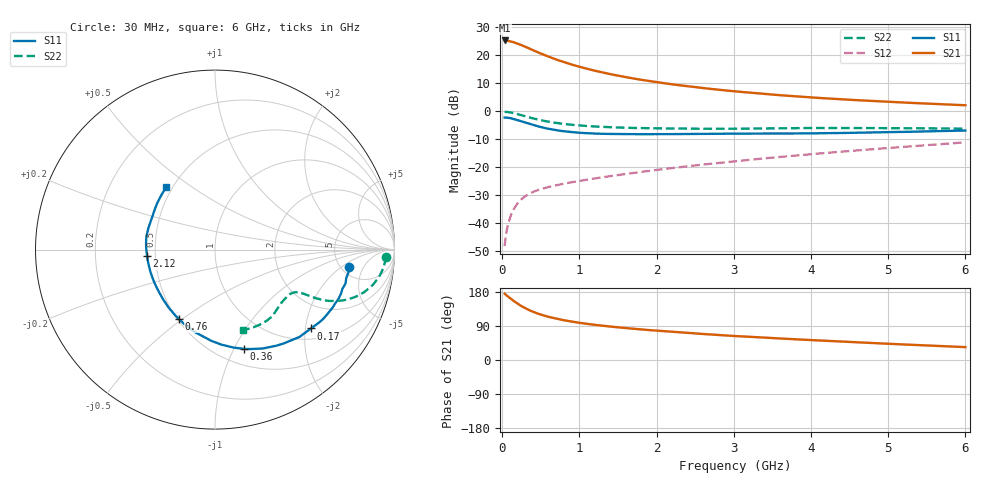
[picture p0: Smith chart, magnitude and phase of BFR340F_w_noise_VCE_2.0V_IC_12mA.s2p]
! Infineon Technologies  Discrete & RF Semiconductors
! BFR340F
! VCE =  2.0 V,  IC =  12 mA
! Common Emitter S-Parameters:  Nov 2015
# GHz  S  MA  R  50
!  f  S11  S21  S12  S22
! GHz  MAG  ANG  MAG  ANG  MAG  ANG  MAG  ANG
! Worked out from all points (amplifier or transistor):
!   206 points, 30 MHz to 6 GHz, reference 50 ohm
!   highest |S21| = 25.1 dB at 30 MHz (marker M1)
!   |S21| within 3 dB of that: start of sweep to 358.7 MHz
!   unconditionally stable (mu >= 1): 1.299 GHz to 5.134 GHz
!   at 200 MHz: K = 0.27, MSG = 28.5 dB, |S12| = -33.0 dB
!   at 1.56 GHz: K = 1.07, MAG = 15.9 dB, |S12| = -22.8 dB
!   at 6 GHz: K = 0.94, MSG = 6.6 dB, |S12| = -11.3 dB
!   lowest NFmin = 1.62 dB at 450 MHz
!   S11 on the Smith chart (normalised r, x): 30 MHz: 5.87, -2.62; 170 MHz: 1.27, -2.15; 360 MHz: 0.66, -1.10; 760 MHz: 0.51, -0.48; 2.12 GHz: 0.45, -0.04; 6 GHz: 0.46, +0.40
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0.03  0.7522 -7.4  17.9 175.2  0.0038 85.0  0.9521 -2.4
0.05  0.7484 -12.1  17.71 171.2  0.0064 82.6  0.9489 -4.4
0.07  0.7424 -17.2  17.68 167.9  0.0088 81.9  0.9437 -6.2
0.1  0.7337 -24.1  17.25 163.2  0.0123 78.5  0.9304 -8.8
0.14  0.7148 -33.0  16.78 157.0  0.0166 74.7  0.9068 -11.9
0.17  0.6923 -39.4  16.19 152.7  0.0195 71.8  0.8858 -13.9
0.2  0.6771 -45.9  15.71 148.4  0.0223 69.6  0.8648 -15.9
0.26  0.6362 -57.2  14.54 140.9  0.0271 65.6  0.8201 -18.9
0.3  0.612 -64.2  13.76 136.4  0.0298 63.3  0.7907 -20.6
0.36  0.5766 -73.6  12.65 130.6  0.0333 60.8  0.7504 -22.3
0.44  0.5347 -84.8  11.31 124.0  0.0372 58.5  0.7035 -24.0
0.5  0.5084 -92.4  10.43 119.7  0.0398 57.3  0.6731 -24.8
0.6  0.4737 -103.4  9.18 113.7  0.0434 56.4  0.6328 -25.6
0.76  0.4349 -117.7  7.654 106.5  0.0485 56.4  0.5871 -26.1
1.04  0.3994 -136.8  5.867 97.0  0.0568 58.2  0.5381 -26.7
1.5  0.3811 -157.5  4.205 86.2  0.0708 62.1  0.4995 -28.6
2.02  0.3796 -172.4  3.194 77.1  0.0881 65.8  0.4821 -32.1
2.12  0.38 -174.7  3.055 75.6  0.0915 66.4  0.4804 -32.9
3.1  0.3889 167.7  2.157 62.4  0.1284 70.4  0.4762 -41.7
4.1  0.3937 153.5  1.685 51.6  0.1713 71.8  0.4895 -50.2
5.1  0.4147 140.1  1.416 41.9  0.2203 71.4  0.4857 -60.4
6  0.4414 128.1  1.247 34.0  0.2715 69.6  0.4757 -70.8
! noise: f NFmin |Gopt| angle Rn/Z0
0.45  1.62  0.17  -3  0.26
0.9  1.82  0.15  6  0.31
1.9  2.52  0.09  -101  0.34
2.4  2.96  0.14  -129  0.33
